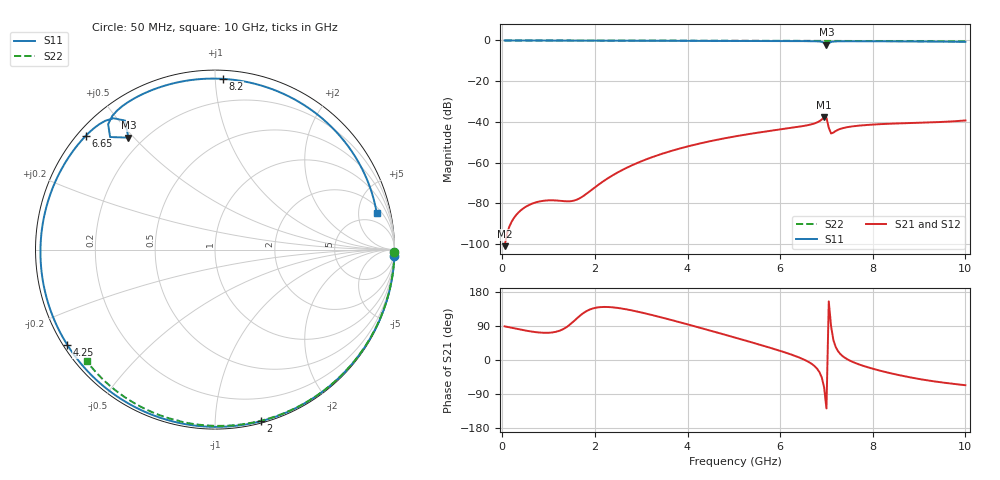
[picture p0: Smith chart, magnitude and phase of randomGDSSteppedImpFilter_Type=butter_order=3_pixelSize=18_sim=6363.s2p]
! freq	dB(S11)	phase(S11)	dB(S12)	phase(S12)
!  dB(S21)	phase(S21)	dB(S22)	phase(S22)
!S-par simulation data
#  GHz  S  DB  R 50
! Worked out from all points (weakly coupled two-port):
!   200 points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, 50 MHz to 10 GHz, reference 50 ohm
!   highest |S21| = -37.75 dB at 6.95 GHz (marker M1); lowest = -101.1 dB at 50 MHz (marker M2)
!   lowest |S11| = -2.1 dB at 7 GHz (marker M3), VSWR 8.45, Z = 7.32 + j24.1 ohm
!   |S11| at or under -10 dB: nowhere
!   |S22| runs from -0.5 to 0.0 dB; largest |S21 - S12| = 0
!   S11 on the Smith chart (normalised r, x): 50 MHz: 0, -58; 2 GHz: 0.01, -1.30; 4.25 GHz: 0.01, -0.29; 6.65 GHz: 0.02, +0.38; 8.2 GHz: 0.05, +1.04; 10 GHz: 2.90, +8.00
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0.05  -0.00 -2.0  -101.09 88.8  -101.09 88.8  -0.00 -0.8
0.8  -0.04 -31.2  -79.12 72.5  -79.12 72.5  -0.01 -12.8
1.5  -0.07 -57.3  -78.92 97.5  -78.92 97.5  -0.03 -23.8
1.75  -0.08 -66.3  -76.44 123.8  -76.44 123.8  -0.04 -27.7
2  -0.09 -75.1  -72.18 137.4  -72.18 137.4  -0.04 -31.6
2.65  -0.12 -97.2  -62.97 134.4  -62.97 134.4  -0.05 -41.6
3.4  -0.14 -121.3  -56.06 113.6  -56.06 113.6  -0.07 -52.8
4.25  -0.18 -147.2  -50.71 85.7  -50.71 85.7  -0.09 -65.1
5.05  -0.22 -171.1  -47.05 58.3  -47.05 58.3  -0.12 -76.3
5.85  -0.28 164.7  -44.20 29.8  -44.20 29.8  -0.15 -87.1
6.65  -0.36 138.6  -41.35 -7.7  -41.35 -7.7  -0.19 -97.6
6.7  -0.38 136.8  -41.06 -11.8  -41.06 -11.8  -0.19 -98.3
6.95  -1.15 124.9  -37.75 -72.8  -37.75 -72.8  -0.21 -101.5
7  -2.06 127.7  -37.98 -127.9  -37.98 -127.9  -0.22 -102.2
7.05  -1.34 133.0  -42.92 154.6  -42.92 154.6  -0.23 -102.7
7.1  -0.74 130.4  -45.72 88.8  -45.72 88.8  -0.22 -103.3
7.55  -0.39 111.4  -42.25 -4.2  -42.25 -4.2  -0.24 -109.0
8.2  -0.42 87.5  -41.08 -29.5  -41.08 -29.5  -0.29 -117.1
8.35  -0.43 81.8  -40.93 -34.0  -40.93 -34.0  -0.31 -119.0
9.15  -0.50 50.2  -40.33 -53.1  -40.33 -53.1  -0.38 -128.8
9.6  -0.57 31.0  -39.92 -60.9  -39.92 -60.9  -0.43 -134.2
10  -0.69 12.6  -39.31 -66.6  -39.31 -66.6  -0.47 -139.1
